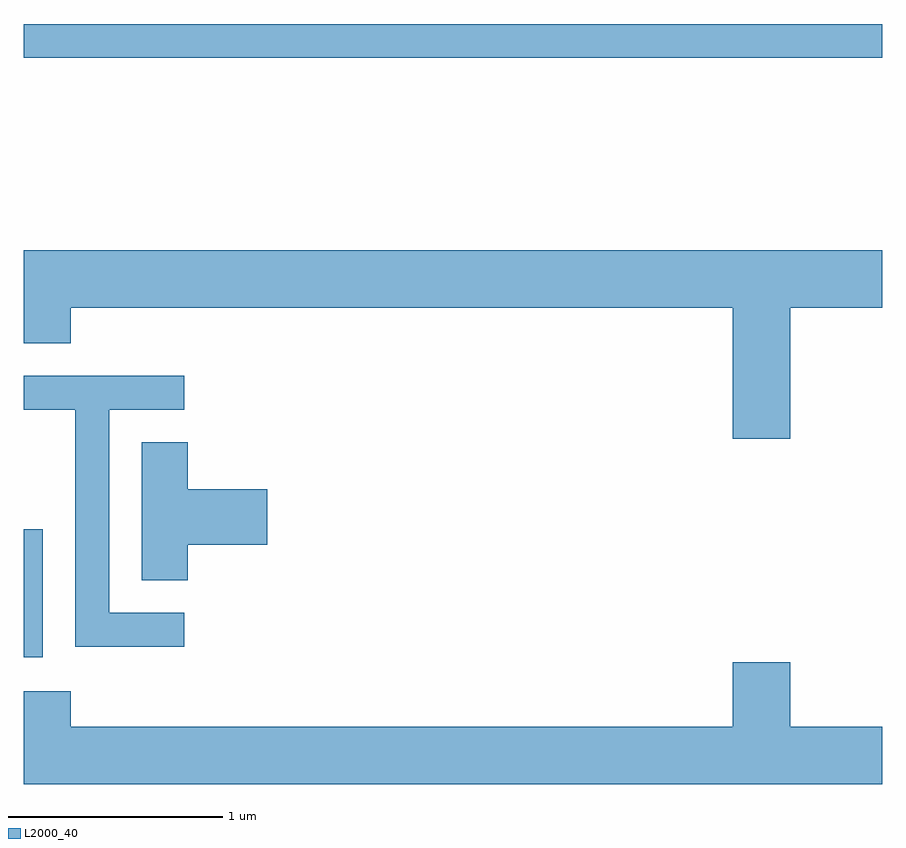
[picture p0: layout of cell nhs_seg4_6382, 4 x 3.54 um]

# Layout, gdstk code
import gdstk
lib = gdstk.Library(unit=1e-6, precision=1e-09)
def R(c, l, rs):  # rectangles x0, y0, x1, y1
    for r in rs: c.add(gdstk.rectangle(r[:2], r[2:], *l))
def P(c, l, *ps):  # polygons
    for p in ps: c.add(gdstk.Polygon(p, *l))
L2000_40 = (2000, 40)

nhs_seg4_6382 = lib.new_cell('nhs_seg4_6382')
R(nhs_seg4_6382, L2000_40, [(371.611,1370.806,371.699,1371.404), (371.611,1373.601,375.611,1373.759)])
P(nhs_seg4_6382, L2000_40, [(375.184,1372.436),(375.611,1372.436),(375.611,1372.704),(371.611,1372.704),(371.611,1372.271),(371.829,1372.271),(371.829,1372.436),(374.916,1372.436),(374.916,1371.826),(375.184,1371.826)],
  [(372.358,1371.014),(372.009,1371.014),(372.009,1371.961),(372.358,1371.961),(372.358,1372.119),(371.611,1372.119),(371.611,1371.961),(371.851,1371.961),(371.851,1370.856),(372.358,1370.856)],
  [(372.374,1371.331),(372.744,1371.331),(372.744,1371.589),(372.374,1371.589),(372.374,1371.809),(372.161,1371.809),(372.161,1371.166),(372.374,1371.166)],
  [(375.611,1370.484),(375.184,1370.484),(375.184,1370.784),(374.916,1370.784),(374.916,1370.484),(371.829,1370.484),(371.829,1370.649),(371.611,1370.649),(371.611,1370.216),(375.611,1370.216)])

lib.write_gds('nhs_seg4_6382.gds')
